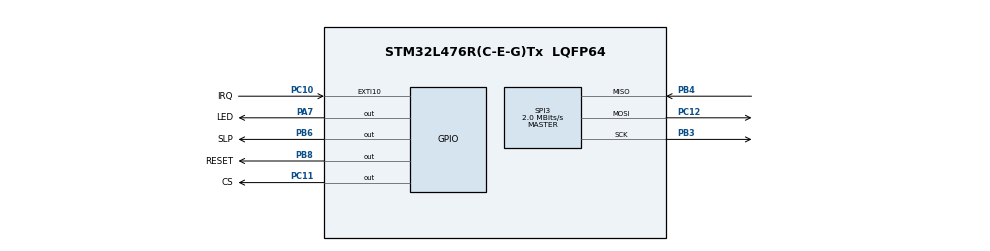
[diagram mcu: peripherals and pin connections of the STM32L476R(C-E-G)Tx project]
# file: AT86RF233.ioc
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Mcu.Family=STM32L4
Mcu.Name=STM32L476R(C-E-G)Tx
Mcu.Package=LQFP64
NVIC.EXTI15_10_IRQn=true\:0\:0\:false\:false\:true\:true\:true\:true
NVIC.PriorityGroup=NVIC_PRIORITYGROUP_4
PA15\ (JTDI).Signal=SPI3_NSS
PA7.GPIO_Label=LED
PA7.Signal=GPIO_Output
PB3\ (JTDO-TRACESWO).Mode=Full_Duplex_Master
PB3\ (JTDO-TRACESWO).Signal=SPI3_SCK
PB4\ (NJTRST).Mode=Full_Duplex_Master
PB4\ (NJTRST).Signal=SPI3_MISO
PB6.GPIO_Label=SLP
PB6.Signal=GPIO_Output
PB8.GPIO_Label=RESET
PB8.Signal=GPIO_Output
PC10.GPIO_Label=IRQ
PC10.Signal=GPXTI10
PC11.GPIO_Label=CS
PC11.Signal=GPIO_Output
PC12.Mode=Full_Duplex_Master
PC12.Signal=SPI3_MOSI
ProjectManager.HeapSize=0x200
ProjectManager.StackSize=0x400
ProjectManager.TargetToolchain=STM32CubeIDE
RCC.HSE_VALUE=8000000
RCC.HSI_VALUE=16000000
RCC.LSE_VALUE=32768
RCC.MSI_VALUE=4000000
RCC.VCOOutputFreq_Value=32000000
SPI3.CalculateBaudRate=2.0 MBits/s
SPI3.DataSize=SPI_DATASIZE_8BIT
SPI3.Direction=SPI_DIRECTION_2LINES
SPI3.Mode=SPI_MODE_MASTER
SPI3.VirtualType=VM_MASTER
board=custom

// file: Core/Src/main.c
/* USER CODE BEGIN Header */
/**
 ******************************************************************************
 * @file           : main.c
 * @brief          : Main program body
 ******************************************************************************
 * @attention
 *
 * Copyright (c) 2023 STMicroelectronics.
 * All rights reserved.
 *
 * This software is licensed under terms that can be found in the LICENSE file
 * in the root directory of this software component.
 * If no LICENSE file comes with this software, it is provided AS-IS.
 *
 ******************************************************************************
 */
/* USER CODE END Header */
#include "main.h"

/* USER CODE BEGIN PD */

#define RSSI_THRESHOLD       8    // порог чувствительности
#define RSSI_ON_COUNT        25      // сколько подтверждений нужно для включения
#define RSSI_OFF_COUNT       25      // сколько подтверждений нужно для выключения

/* USER CODE END PD */

/* USER CODE BEGIN PM */

volatile uint32_t last_connected_change_ms = 0;

/* counters for debounce */
static uint8_t rssi_ok_count = 0;
static uint8_t rssi_low_count = 0;

static uint8_t led_state = 0;

/* USER CODE END PM */

SPI_HandleTypeDef hspi3;

void SystemClock_Config(void);
static void MX_GPIO_Init(void);
static void MX_SPI3_Init(void);

/* USER CODE BEGIN 0 */

/**
 * @brief IRQ handler for AT86RF233
 */
void HAL_GPIO_EXTI_Callback(uint16_t GPIO_Pin)
{
    if (GPIO_Pin == IRQ_Pin)
    {
        last_connected_change_ms = HAL_GetTick();

        uint8_t irq = readRegister(AT86RF2XX_REG__IRQ_STATUS);

        if (irq & AT86RF2XX_IRQ_STATUS_MASK__TRX_END)
        {
            uint8_t rssi_raw = readRegister(0x07);

            if (rssi_raw >= RSSI_THRESHOLD)
            {
                rssi_ok_count++;
                rssi_low_count = 0;

                if (!led_state && rssi_ok_count >= RSSI_ON_COUNT)
                {
                    led_state = 1;
                    HAL_GPIO_WritePin(LED_GPIO_Port, LED_Pin, GPIO_PIN_SET);
                }
            }
            else
            {
                rssi_low_count++;
                rssi_ok_count = 0;

                if (led_state && rssi_low_count >= RSSI_OFF_COUNT)
                {
                    led_state = 0;
                    HAL_GPIO_WritePin(LED_GPIO_Port, LED_Pin, GPIO_PIN_RESET);
                }
            }
        }
    }
}

/* USER CODE END 0 */

int main(void)
{

  /* MCU Configuration--------------------------------------------------------*/

  HAL_Init();

  SystemClock_Config();

  MX_GPIO_Init();
  MX_SPI3_Init();

  /* USER CODE BEGIN 2 */

  at86rf233_init();

  for (int i = 0; i < 10; i++) {
      HAL_Delay(100);
      HAL_GPIO_TogglePin(LED_GPIO_Port, LED_Pin);
  }

  /* USER CODE END 2 */

  /* Infinite loop */
  /* USER CODE BEGIN WHILE */
  while (1)
  {
      uint32_t now = HAL_GetTick();

      // fail-safe: если давно не было прерываний - гасим LED
      if (led_state && (now - last_connected_change_ms) > 5000)
      {
          led_state = 0;
          rssi_ok_count = 0;
          rssi_low_count = 0;
          HAL_GPIO_WritePin(LED_GPIO_Port, LED_Pin, GPIO_PIN_RESET);
      }

  /* USER CODE END WHILE */

  }
}

void SystemClock_Config(void) {
	RCC_OscInitTypeDef RCC_OscInitStruct = { 0 };
	RCC_ClkInitTypeDef RCC_ClkInitStruct = { 0 };

	/** Configure the main internal regulator output voltage
	 */
	if (HAL_PWREx_ControlVoltageScaling(PWR_REGULATOR_VOLTAGE_SCALE1)
			!= HAL_OK) {
		Error_Handler();
	}

	/** Initializes the RCC Oscillators according to the specified parameters
	 * in the RCC_OscInitTypeDef structure.
	 */
	RCC_OscInitStruct.OscillatorType = RCC_OSCILLATORTYPE_MSI;
	RCC_OscInitStruct.MSIState = RCC_MSI_ON;
	RCC_OscInitStruct.MSICalibrationValue = 0;
	RCC_OscInitStruct.MSIClockRange = RCC_MSIRANGE_6;
	RCC_OscInitStruct.PLL.PLLState = RCC_PLL_NONE;
	if (HAL_RCC_OscConfig(&RCC_OscInitStruct) != HAL_OK) {
		Error_Handler();
	}

	/** Initializes the CPU, AHB and APB buses clocks
	 */
	RCC_ClkInitStruct.ClockType = RCC_CLOCKTYPE_HCLK | RCC_CLOCKTYPE_SYSCLK
			| RCC_CLOCKTYPE_PCLK1 | RCC_CLOCKTYPE_PCLK2;
	RCC_ClkInitStruct.SYSCLKSource = RCC_SYSCLKSOURCE_MSI;
	RCC_ClkInitStruct.AHBCLKDivider = RCC_SYSCLK_DIV1;
	RCC_ClkInitStruct.APB1CLKDivider = RCC_HCLK_DIV1;
	RCC_ClkInitStruct.APB2CLKDivider = RCC_HCLK_DIV1;

	if (HAL_RCC_ClockConfig(&RCC_ClkInitStruct, FLASH_LATENCY_0) != HAL_OK) {
		Error_Handler();
	}
}

static void MX_SPI3_Init(void) {

	/* SPI3 parameter configuration*/
	hspi3.Instance = SPI3;
	hspi3.Init.Mode = SPI_MODE_MASTER;
	hspi3.Init.Direction = SPI_DIRECTION_2LINES;
	hspi3.Init.DataSize = SPI_DATASIZE_8BIT;
	hspi3.Init.CLKPolarity = SPI_POLARITY_LOW;
	hspi3.Init.CLKPhase = SPI_PHASE_1EDGE;
	hspi3.Init.NSS = SPI_NSS_SOFT;
	hspi3.Init.BaudRatePrescaler = SPI_BAUDRATEPRESCALER_2;
	hspi3.Init.FirstBit = SPI_FIRSTBIT_MSB;
	hspi3.Init.TIMode = SPI_TIMODE_DISABLE;
	hspi3.Init.CRCCalculation = SPI_CRCCALCULATION_DISABLE;
	hspi3.Init.CRCPolynomial = 7;
	hspi3.Init.CRCLength = SPI_CRC_LENGTH_DATASIZE;
	hspi3.Init.NSSPMode = SPI_NSS_PULSE_ENABLE;
	if (HAL_SPI_Init(&hspi3) != HAL_OK) {
		Error_Handler();
	}

}

static void MX_GPIO_Init(void) {
	GPIO_InitTypeDef GPIO_InitStruct = { 0 };

	/* GPIO Ports Clock Enable */
	__HAL_RCC_GPIOA_CLK_ENABLE();
	__HAL_RCC_GPIOC_CLK_ENABLE();
	__HAL_RCC_GPIOB_CLK_ENABLE();

	/*Configure GPIO pin Output Level */
	HAL_GPIO_WritePin(LED_GPIO_Port, LED_Pin, GPIO_PIN_RESET);

	/*Configure GPIO pin Output Level */
	HAL_GPIO_WritePin(CS_GPIO_Port, CS_Pin, GPIO_PIN_RESET);

	/*Configure GPIO pin Output Level */
	HAL_GPIO_WritePin(GPIOB, SLP_Pin | RESET_Pin, GPIO_PIN_RESET);

	/*Configure GPIO pin : LED_Pin */
	GPIO_InitStruct.Pin = LED_Pin;
	GPIO_InitStruct.Mode = GPIO_MODE_OUTPUT_PP;
	GPIO_InitStruct.Pull = GPIO_NOPULL;
	GPIO_InitStruct.Speed = GPIO_SPEED_FREQ_LOW;
	HAL_GPIO_Init(LED_GPIO_Port, &GPIO_InitStruct);

	/*Configure GPIO pin : IRQ_Pin */
	GPIO_InitStruct.Pin = IRQ_Pin;
	GPIO_InitStruct.Mode = GPIO_MODE_IT_RISING;
	GPIO_InitStruct.Pull = GPIO_NOPULL;
	HAL_GPIO_Init(IRQ_GPIO_Port, &GPIO_InitStruct);

	/*Configure GPIO pin : CS_Pin */
	GPIO_InitStruct.Pin = CS_Pin;
	GPIO_InitStruct.Mode = GPIO_MODE_OUTPUT_PP;
	GPIO_InitStruct.Pull = GPIO_NOPULL;
	GPIO_InitStruct.Speed = GPIO_SPEED_FREQ_LOW;
	HAL_GPIO_Init(CS_GPIO_Port, &GPIO_InitStruct);

	/*Configure GPIO pins : SLP_Pin RESET_Pin */
	GPIO_InitStruct.Pin = SLP_Pin | RESET_Pin;
	GPIO_InitStruct.Mode = GPIO_MODE_OUTPUT_PP;
	GPIO_InitStruct.Pull = GPIO_NOPULL;
	GPIO_InitStruct.Speed = GPIO_SPEED_FREQ_LOW;
	HAL_GPIO_Init(GPIOB, &GPIO_InitStruct);

	/* EXTI interrupt init*/
	HAL_NVIC_SetPriority(EXTI15_10_IRQn, 0, 0);
	HAL_NVIC_EnableIRQ(EXTI15_10_IRQn);

}

void Error_Handler(void) {
	__disable_irq();
	while (1) {
	}
}
